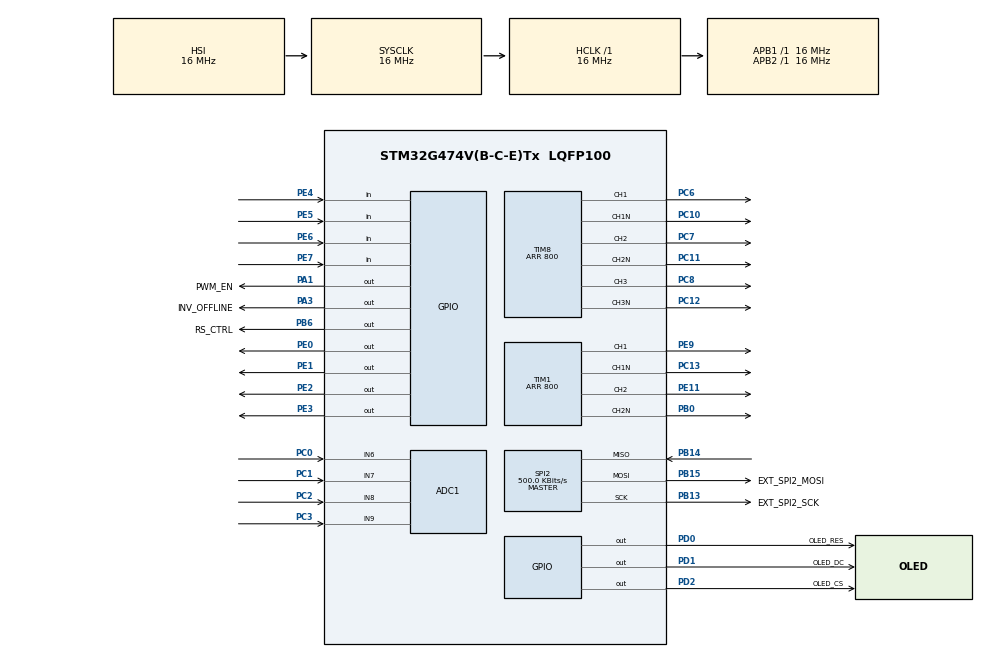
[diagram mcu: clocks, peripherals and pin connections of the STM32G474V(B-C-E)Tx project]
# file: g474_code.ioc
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ADC1.Channel-1\#ChannelRegularConversion=ADC_CHANNEL_6
ADC1.Channel-2\#ChannelRegularConversion=ADC_CHANNEL_7
ADC1.Channel-3\#ChannelRegularConversion=ADC_CHANNEL_8
ADC1.ClockPrescaler=ADC_CLOCK_SYNC_PCLK_DIV1
ADC1.ContinuousConvMode=DISABLE
ADC1.DMAContinuousRequests=ENABLE
ADC1.ExternalTrigConv=ADC_EXTERNALTRIG_T8_TRGO
ADC1.ExternalTrigConvEdge=ADC_EXTERNALTRIGCONVEDGE_RISING
ADC1.NbrOfConversion=3
ADC1.NbrOfConversionFlag=1
ADC1.OffsetNumber-1\#ChannelRegularConversion=ADC_OFFSET_NONE
ADC1.OffsetNumber-2\#ChannelRegularConversion=ADC_OFFSET_NONE
ADC1.OffsetNumber-3\#ChannelRegularConversion=ADC_OFFSET_NONE
ADC1.Rank-1\#ChannelRegularConversion=1
ADC1.Rank-2\#ChannelRegularConversion=2
ADC1.Rank-3\#ChannelRegularConversion=3
ADC1.SamplingTime-1\#ChannelRegularConversion=ADC_SAMPLETIME_47CYCLES_5
ADC1.SamplingTime-2\#ChannelRegularConversion=ADC_SAMPLETIME_47CYCLES_5
ADC1.SamplingTime-3\#ChannelRegularConversion=ADC_SAMPLETIME_47CYCLES_5
ADC1.master=1
Dma.ADC1.0.Direction=DMA_PERIPH_TO_MEMORY
Dma.ADC1.0.EventEnable=DISABLE
Dma.ADC1.0.Instance=DMA1_Channel1
Dma.ADC1.0.MemDataAlignment=DMA_MDATAALIGN_HALFWORD
Dma.ADC1.0.MemInc=DMA_MINC_ENABLE
Dma.ADC1.0.Mode=DMA_CIRCULAR
Dma.ADC1.0.PeriphDataAlignment=DMA_PDATAALIGN_HALFWORD
Dma.ADC1.0.PeriphInc=DMA_PINC_DISABLE
Dma.ADC1.0.Polarity=HAL_DMAMUX_REQ_GEN_RISING
Dma.ADC1.0.Priority=DMA_PRIORITY_LOW
Dma.ADC1.0.RequestNumber=1
Dma.ADC1.0.SignalID=NONE
Dma.ADC1.0.SyncEnable=DISABLE
Dma.ADC1.0.SyncPolarity=HAL_DMAMUX_SYNC_NO_EVENT
Dma.ADC1.0.SyncRequestNumber=1
Dma.ADC1.0.SyncSignalID=NONE
Dma.Request0=ADC1
Mcu.Family=STM32G4
Mcu.Name=STM32G474V(B-C-E)Tx
Mcu.Package=LQFP100
NVIC.ADC1_2_IRQn=true\:1\:0\:false\:false\:true\:false\:true\:true
NVIC.DMA1_Channel1_IRQn=true\:3\:0\:false\:false\:true\:false\:true\:true
NVIC.PriorityGroup=NVIC_PRIORITYGROUP_4
NVIC.TIM5_IRQn=true\:2\:0\:false\:false\:true\:false\:true\:true
PA1.GPIO_Label=PWM_EN
PA1.Signal=GPIO_Output
PA13.Mode=Serial_Wire
PA13.Signal=SYS_JTMS-SWDIO
PA14.Mode=Serial_Wire
PA14.Signal=SYS_JTCK-SWCLK
PA3.GPIO_Label=INV_OFFLINE
PA3.PinState=GPIO_PIN_SET
PA3.Signal=GPIO_Output
PB0.Mode=PWM Generation2 CH2 CH2N
PB0.Signal=TIM1_CH2N
PB13.GPIO_Label=EXT_SPI2_SCK
PB13.Mode=Full_Duplex_Master
PB13.Signal=SPI2_SCK
PB14.Mode=Full_Duplex_Master
PB14.Signal=SPI2_MISO
PB15.GPIO_Label=EXT_SPI2_MOSI
PB15.Mode=Full_Duplex_Master
PB15.Signal=SPI2_MOSI
PB6.GPIO_Label=RS_CTRL
PB6.Signal=GPIO_Output
PC0.Mode=IN6-Single-Ended
PC0.Signal=ADC1_IN6
PC1.Mode=IN7-Single-Ended
PC1.Signal=ADC1_IN7
PC10.Mode=PWM Generation1 CH1 CH1N
PC10.Signal=TIM8_CH1N
PC11.Mode=PWM Generation2 CH2 CH2N
PC11.Signal=TIM8_CH2N
PC12.Mode=PWM Generation3 CH3 CH3N
PC12.Signal=TIM8_CH3N
PC13.Mode=PWM Generation1 CH1 CH1N
PC13.Signal=TIM1_CH1N
PC14-OSC32_IN.Mode=LSE-External-Oscillator
PC14-OSC32_IN.Signal=RCC_OSC32_IN
PC15-OSC32_OUT.Mode=LSE-External-Oscillator
PC15-OSC32_OUT.Signal=RCC_OSC32_OUT
PC2.Mode=IN8-Single-Ended
PC2.Signal=ADC1_IN8
PC3.Mode=IN9-Single-Ended
PC3.Signal=ADC1_IN9
PC6.Signal=S_TIM8_CH1
PC7.Signal=S_TIM8_CH2
PC8.Signal=S_TIM8_CH3
PD0.GPIO_Label=OLED_RES
PD0.GPIO_PuPd=GPIO_PULLUP
PD0.GPIO_Speed=GPIO_SPEED_FREQ_VERY_HIGH
PD0.Signal=GPIO_Output
PD1.GPIO_Label=OLED_DC
PD1.GPIO_PuPd=GPIO_PULLUP
PD1.GPIO_Speed=GPIO_SPEED_FREQ_VERY_HIGH
PD1.Signal=GPIO_Output
PD2.GPIO_Label=OLED_CS
PD2.GPIO_PuPd=GPIO_PULLUP
PD2.GPIO_Speed=GPIO_SPEED_FREQ_VERY_HIGH
PD2.Signal=GPIO_Output
PE0.GPIO_ModeDefaultOutputPP=GPIO_MODE_OUTPUT_OD
PE0.PinState=GPIO_PIN_SET
PE0.Signal=GPIO_Output
PE1.GPIO_ModeDefaultOutputPP=GPIO_MODE_OUTPUT_OD
PE1.PinState=GPIO_PIN_SET
PE1.Signal=GPIO_Output
PE11.Signal=S_TIM1_CH2
PE2.GPIO_ModeDefaultOutputPP=GPIO_MODE_OUTPUT_OD
PE2.PinState=GPIO_PIN_SET
PE2.Signal=GPIO_Output
PE3.GPIO_ModeDefaultOutputPP=GPIO_MODE_OUTPUT_OD
PE3.PinState=GPIO_PIN_SET
PE3.Signal=GPIO_Output
PE4.GPIO_PuPd=GPIO_PULLUP
PE4.Signal=GPIO_Input
PE5.GPIO_PuPd=GPIO_PULLUP
PE5.Signal=GPIO_Input
PE6.GPIO_PuPd=GPIO_PULLUP
PE6.Signal=GPIO_Input
PE7.GPIO_PuPd=GPIO_PULLUP
PE7.Signal=GPIO_Input
PE9.Signal=S_TIM1_CH1
PF0-OSC_IN.Mode=HSE-External-Oscillator
PF0-OSC_IN.Signal=RCC_OSC_IN
PF1-OSC_OUT.Mode=HSE-External-Oscillator
PF1-OSC_OUT.Signal=RCC_OSC_OUT
ProjectManager.HeapSize=0x200
ProjectManager.StackSize=0x400
ProjectManager.TargetToolchain=MDK-ARM V5.32
RCC.ADC12Freq_Value=16000000
RCC.ADC345Freq_Value=16000000
RCC.AHBFreq_Value=16000000
RCC.APB1Freq_Value=16000000
RCC.APB1TimFreq_Value=16000000
RCC.APB2Freq_Value=16000000
RCC.APB2TimFreq_Value=16000000
RCC.CortexFreq_Value=16000000
RCC.EXTERNAL_CLOCK_VALUE=12288000
RCC.HCLKFreq_Value=16000000
RCC.HSE_VALUE=8000000
RCC.HSI48_VALUE=48000000
RCC.HSI_VALUE=16000000
RCC.PLLM=RCC_PLLM_DIV4
RCC.PLLN=85
RCC.SYSCLKFreq_VALUE=16000000
RCC.USBFreq_Value=170000000
RCC.VCOOutputFreq_Value=340000000
SH.S_TIM1_CH1.0=TIM1_CH1,PWM Generation1 CH1 CH1N
SH.S_TIM1_CH2.0=TIM1_CH2,PWM Generation2 CH2 CH2N
SH.S_TIM8_CH1.0=TIM8_CH1,PWM Generation1 CH1 CH1N
SH.S_TIM8_CH2.0=TIM8_CH2,PWM Generation2 CH2 CH2N
SH.S_TIM8_CH3.0=TIM8_CH3,PWM Generation3 CH3 CH3N
SPI2.BaudRatePrescaler=SPI_BAUDRATEPRESCALER_32
SPI2.CLKPhase=SPI_PHASE_1EDGE
SPI2.CLKPolarity=SPI_POLARITY_LOW
SPI2.CalculateBaudRate=500.0 KBits/s
SPI2.DataSize=SPI_DATASIZE_8BIT
SPI2.Direction=SPI_DIRECTION_2LINES
SPI2.Mode=SPI_MODE_MASTER
SPI2.VirtualType=VM_MASTER
TIM1.Channel-PWM\ Generation1\ CH1\ CH1N=TIM_CHANNEL_1
TIM1.Channel-PWM\ Generation2\ CH2\ CH2N=TIM_CHANNEL_2
TIM1.CounterMode=TIM_COUNTERMODE_CENTERALIGNED1
TIM1.DeadTime=5
TIM1.OffStateIDLEMode=TIM_OSSI_ENABLE
TIM1.OffStateRunMode=TIM_OSSR_ENABLE
TIM1.PeriodNoDither=800
TIM1.PulseNoDither_1=400
TIM1.PulseNoDither_2=400
TIM1.RepetitionCounter=1
TIM1.TIM_MasterOutputTrigger=TIM_TRGO_UPDATE
TIM5.AutoReloadPreload=TIM_AUTORELOAD_PRELOAD_ENABLE
TIM5.Period=888
TIM5.Prescaler=0
TIM8.AutoReloadPreload=TIM_AUTORELOAD_PRELOAD_ENABLE
TIM8.Channel-PWM\ Generation1\ CH1\ CH1N=TIM_CHANNEL_1
TIM8.Channel-PWM\ Generation2\ CH2\ CH2N=TIM_CHANNEL_2
TIM8.Channel-PWM\ Generation3\ CH3\ CH3N=TIM_CHANNEL_3
TIM8.CounterMode=TIM_COUNTERMODE_CENTERALIGNED1
TIM8.DeadTime=5
TIM8.DeadTimePreload=DISABLE
TIM8.OffStateIDLEMode=TIM_OSSI_ENABLE
TIM8.OffStateRunMode=TIM_OSSR_ENABLE
TIM8.PeriodNoDither=800
TIM8.PulseNoDither_1=400
TIM8.PulseNoDither_2=400
TIM8.PulseNoDither_3=400
TIM8.RepetitionCounter=1
TIM8.TIM_MasterOutputTrigger=TIM_TRGO_UPDATE
VP_SYS_VS_DBSignals.Mode=DisableDeadBatterySignals
VP_TIM1_VS_ClockSourceINT.Mode=Internal
VP_TIM5_VS_ClockSourceINT.Mode=Internal
VP_TIM8_VS_ClockSourceINT.Mode=Internal
board=custom

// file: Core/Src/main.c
/* USER CODE BEGIN Header */
/**
  ******************************************************************************
  * @file           : main.c
  * @brief          : Main program body
  ******************************************************************************
  * @attention
  *
  * Copyright (c) 2026 STMicroelectronics.
  * All rights reserved.
  *
  * This software is licensed under terms that can be found in the LICENSE file
  * in the root directory of this software component.
  * If no LICENSE file comes with this software, it is provided AS-IS.
  *
  ******************************************************************************
  */
/* USER CODE END Header */
#include "main.h"

/* USER CODE BEGIN Includes */
#include "oled.h"
#include "Keyboard.h"
#include "sampling.h"
#include "Control_Tools.h"
#include "arm_math.h"
#include "single_rectifier_control.h"

/* USER CODE END Includes */

/* USER CODE BEGIN PD */
#define SAMPLE_POINT 360
#define CLK_FREQ 18000.0f
#define T 1/CLK_FREQ
#define AC_Freq 50
#define SQRT_2 1.41421356237f
#define Wc (2*3.14159265359*AC_Freq)
#define WL (0.2*3.14159265359)

// PI控制器的相关参数
#define Udc_Kp 0.1f // Udc环Kp
#define Udc_Ki 0.01f // Udc环Ki
#define Id_Kp 0.1f // 直轴分量Id环Kp
#define Id_Ki 0.01f // 直轴分量Id环Ki
#define Iq_Kp 0.1f // 交轴分量Iq环Kp
#define Iq_Ki 0.01f // 交轴分量Iq环Ki
// PI控制器的限幅参数

/* USER CODE END PD */

ADC_HandleTypeDef hadc1;
DMA_HandleTypeDef hdma_adc1;

SPI_HandleTypeDef hspi2;

TIM_HandleTypeDef htim1;
TIM_HandleTypeDef htim5;
TIM_HandleTypeDef htim8;

/* USER CODE BEGIN PV */
INV_SamplingData realdata; // 采样处理后的真实数据

SingleRectifier_ControlState pll_state;// 锁相环状态结构体
// ===========================================================================
// 变量定义
static uint16_t clock_timer = 0; //控制环定时器
uint16_t circle_n = 0; //用于描述控制环在工频周期的位置
// 以下变量用于有效值平均值计算
float Uac_sum = 0.0f;
float Iac_sum = 0.0f;
float Udc_sum = 0.0f;
float Uac_square_sum = 0.0f;
float Iac_square_sum = 0.0f;
float Uac_rms = 0.0f;
float Iac_rms = 0.0f;
float Udc_mean = 0.0f;
float Uac_mean = 0.0f;
float Iac_mean = 0.0f;
// ===========================================================================
// PI控制器
PI_Controller Udc_loop; // Udc环
PI_Controller Id_loop; // 直轴分量Id环
PI_Controller Iq_loop; // 交轴分量Iq环
float Udc_ref = 32; // 直流电压输出参考值

float Id_ref = 0.0f; // 直轴分量Id参考值
float Iq_ref = 0.0f; // 交轴分量Iq参考值

float grid_ud = 0.0f; // 电网侧d轴分量
float grid_uq = 0.0f; // 电网侧q轴分量
float grid_theta = 0.0f; // 电网电压相位
// 电流内环
float Id_in; // 直轴分量Id输入值
float Iq_in; // 交轴分量Iq输入值
float UI_d;
float UI_q;
float UI_alpha;
float UI_beta;

// PWM占空比
float Duty1;
float Duty2;

// ===========================================================================
/* USER CODE END PV */

void SystemClock_Config(void);
static void MX_GPIO_Init(void);
static void MX_DMA_Init(void);
static void MX_ADC1_Init(void);
static void MX_TIM5_Init(void);
static void MX_SPI2_Init(void);
static void MX_TIM8_Init(void);
static void MX_TIM1_Init(void);

/* USER CODE BEGIN 0 */
void Control_Init(void)
{
  //初始化PI控制器，主要完成三个控制环的初始化，分别为直流电压外环PI控制器，直轴分量Id环PI控制器，交轴分量Iq环PI控制器
  PI_Pos_Init(&Udc_loop, Udc_Kp, Udc_Ki, -1.0f, 1.0f);
  PI_Pos_Init(&Id_loop, Id_Kp, Id_Ki, -1.0f, 1.0f);
  PI_Pos_Init(&Iq_loop, Iq_Kp, Iq_Ki, -1.0f, 1.0f);
  // 注意PI控制器的 PI_Pos_Init 函数中，最后两个参数是积分器加和值的最小值和最大值，不是PI控制器输出的最小值与最大值
}
/* USER CODE END 0 */

int main(void)
{

  /* MCU Configuration--------------------------------------------------------*/

  /* Reset of all peripherals, Initializes the Flash interface and the Systick. */
  HAL_Init();

  /* Configure the system clock */
  SystemClock_Config();

  /* Initialize all configured peripherals */
  MX_GPIO_Init();
  MX_DMA_Init();
  MX_ADC1_Init();
  MX_TIM5_Init();
  MX_SPI2_Init();
  MX_TIM8_Init();
  MX_TIM1_Init();
  /* USER CODE BEGIN 2 */

  OLED_Init();
  Keyboard_Init();
  Control_Init();

  /* 先校准并就绪 ADC DMA，再启动 TIM8 触发；输出保持关闭。 */
  if (INV_SamplingStart() != HAL_OK) Error_Handler();
  if (HAL_TIM_Base_Start(&htim8) != HAL_OK) Error_Handler();

  /* 欢迎界面（替代原工程 gImage_welcome 开机图） */
  OLED_Clear();
  OLED_ShowString(16, 8,  "INVERTER", 16);
  OLED_ShowString(16, 32, "G474 PORT", 16);
  OLED_Refresh();
  HAL_Delay(2000);

  // TIM5 启动
  HAL_TIM_Base_Start_IT(&htim5);
  // 单相PWM整流使用TIM1的PWM输出,分别打开TIM1的两个通道及其互补输出
  // TIM1 CH1 CH1N分别对应PE9 PC13
  // TIM1 CH2 CH2N分别对应PE11 PB0
  HAL_TIM_PWM_Start(&htim1, TIM_CHANNEL_1);
  HAL_TIMEx_PWMN_Start(&htim1, TIM_CHANNEL_1);
  HAL_TIM_PWM_Start(&htim1, TIM_CHANNEL_2);
  HAL_TIMEx_PWMN_Start(&htim1, TIM_CHANNEL_2);

  //

  /* USER CODE END 2 */

  /* Infinite loop */
  while (1)
  {

  }
}

void SystemClock_Config(void)
{
  RCC_OscInitTypeDef RCC_OscInitStruct = {0};
  RCC_ClkInitTypeDef RCC_ClkInitStruct = {0};

  /** Configure the main internal regulator output voltage
  */
  HAL_PWREx_ControlVoltageScaling(PWR_REGULATOR_VOLTAGE_SCALE1);

  /** Initializes the RCC Oscillators according to the specified parameters
  * in the RCC_OscInitTypeDef structure.
  */
  RCC_OscInitStruct.OscillatorType = RCC_OSCILLATORTYPE_HSI;
  RCC_OscInitStruct.HSIState = RCC_HSI_ON;
  RCC_OscInitStruct.HSICalibrationValue = RCC_HSICALIBRATION_DEFAULT;
  RCC_OscInitStruct.PLL.PLLState = RCC_PLL_NONE;
  if (HAL_RCC_OscConfig(&RCC_OscInitStruct) != HAL_OK)
  {
    Error_Handler();
  }

  /** Initializes the CPU, AHB and APB buses clocks
  */
  RCC_ClkInitStruct.ClockType = RCC_CLOCKTYPE_HCLK|RCC_CLOCKTYPE_SYSCLK
                              |RCC_CLOCKTYPE_PCLK1|RCC_CLOCKTYPE_PCLK2;
  RCC_ClkInitStruct.SYSCLKSource = RCC_SYSCLKSOURCE_HSI;
  RCC_ClkInitStruct.AHBCLKDivider = RCC_SYSCLK_DIV1;
  RCC_ClkInitStruct.APB1CLKDivider = RCC_HCLK_DIV1;
  RCC_ClkInitStruct.APB2CLKDivider = RCC_HCLK_DIV1;

  if (HAL_RCC_ClockConfig(&RCC_ClkInitStruct, FLASH_LATENCY_0) != HAL_OK)
  {
    Error_Handler();
  }
}

static void MX_ADC1_Init(void)
{

  ADC_MultiModeTypeDef multimode = {0};
  ADC_ChannelConfTypeDef sConfig = {0};

  /** Common config
  */
  hadc1.Instance = ADC1;
  hadc1.Init.ClockPrescaler = ADC_CLOCK_SYNC_PCLK_DIV1;
  hadc1.Init.Resolution = ADC_RESOLUTION_12B;
  hadc1.Init.DataAlign = ADC_DATAALIGN_RIGHT;
  hadc1.Init.GainCompensation = 0;
  hadc1.Init.ScanConvMode = ADC_SCAN_ENABLE;
  hadc1.Init.EOCSelection = ADC_EOC_SINGLE_CONV;
  hadc1.Init.LowPowerAutoWait = DISABLE;
  hadc1.Init.ContinuousConvMode = DISABLE;
  hadc1.Init.NbrOfConversion = 3;
  hadc1.Init.DiscontinuousConvMode = DISABLE;
  hadc1.Init.ExternalTrigConv = ADC_EXTERNALTRIG_T8_TRGO;
  hadc1.Init.ExternalTrigConvEdge = ADC_EXTERNALTRIGCONVEDGE_RISING;
  hadc1.Init.DMAContinuousRequests = ENABLE;
  hadc1.Init.Overrun = ADC_OVR_DATA_PRESERVED;
  hadc1.Init.OversamplingMode = DISABLE;
  if (HAL_ADC_Init(&hadc1) != HAL_OK)
  {
    Error_Handler();
  }

  /** Configure the ADC multi-mode
  */
  multimode.Mode = ADC_MODE_INDEPENDENT;
  if (HAL_ADCEx_MultiModeConfigChannel(&hadc1, &multimode) != HAL_OK)
  {
    Error_Handler();
  }

  /** Configure Regular Channel
  */
  sConfig.Channel = ADC_CHANNEL_6;
  sConfig.Rank = ADC_REGULAR_RANK_1;
  sConfig.SamplingTime = ADC_SAMPLETIME_47CYCLES_5;
  sConfig.SingleDiff = ADC_SINGLE_ENDED;
  sConfig.OffsetNumber = ADC_OFFSET_NONE;
  sConfig.Offset = 0;
  if (HAL_ADC_ConfigChannel(&hadc1, &sConfig) != HAL_OK)
  {
    Error_Handler();
  }

  /** Configure Regular Channel
  */
  sConfig.Channel = ADC_CHANNEL_7;
  sConfig.Rank = ADC_REGULAR_RANK_2;
  if (HAL_ADC_ConfigChannel(&hadc1, &sConfig) != HAL_OK)
  {
    Error_Handler();
  }

  /** Configure Regular Channel
  */
  sConfig.Channel = ADC_CHANNEL_8;
  sConfig.Rank = ADC_REGULAR_RANK_3;
  if (HAL_ADC_ConfigChannel(&hadc1, &sConfig) != HAL_OK)
  {
    Error_Handler();
  }
  /* USER CODE BEGIN ADC1_Init 2 */

  HAL_NVIC_SetPriority(ADC1_2_IRQn, 1, 0);
  HAL_NVIC_EnableIRQ(ADC1_2_IRQn);

  /* USER CODE END ADC1_Init 2 */

}

static void MX_SPI2_Init(void)
{

  /* SPI2 parameter configuration*/
  hspi2.Instance = SPI2;
  hspi2.Init.Mode = SPI_MODE_MASTER;
  hspi2.Init.Direction = SPI_DIRECTION_2LINES;
  hspi2.Init.DataSize = SPI_DATASIZE_8BIT;
  hspi2.Init.CLKPolarity = SPI_POLARITY_LOW;
  hspi2.Init.CLKPhase = SPI_PHASE_1EDGE;
  hspi2.Init.NSS = SPI_NSS_SOFT;
  hspi2.Init.BaudRatePrescaler = SPI_BAUDRATEPRESCALER_32;
  hspi2.Init.FirstBit = SPI_FIRSTBIT_MSB;
  hspi2.Init.TIMode = SPI_TIMODE_DISABLE;
  hspi2.Init.CRCCalculation = SPI_CRCCALCULATION_DISABLE;
  hspi2.Init.CRCPolynomial = 7;
  hspi2.Init.CRCLength = SPI_CRC_LENGTH_DATASIZE;
  hspi2.Init.NSSPMode = SPI_NSS_PULSE_ENABLE;
  if (HAL_SPI_Init(&hspi2) != HAL_OK)
  {
    Error_Handler();
  }

}

static void MX_TIM1_Init(void)
{

  TIM_ClockConfigTypeDef sClockSourceConfig = {0};
  TIM_MasterConfigTypeDef sMasterConfig = {0};
  TIM_OC_InitTypeDef sConfigOC = {0};
  TIM_BreakDeadTimeConfigTypeDef sBreakDeadTimeConfig = {0};

  htim1.Instance = TIM1;
  htim1.Init.Prescaler = 0;
  htim1.Init.CounterMode = TIM_COUNTERMODE_CENTERALIGNED1;
  htim1.Init.Period = 800;
  htim1.Init.ClockDivision = TIM_CLOCKDIVISION_DIV1;
  htim1.Init.RepetitionCounter = 1;
  htim1.Init.AutoReloadPreload = TIM_AUTORELOAD_PRELOAD_DISABLE;
  if (HAL_TIM_Base_Init(&htim1) != HAL_OK)
  {
    Error_Handler();
  }
  sClockSourceConfig.ClockSource = TIM_CLOCKSOURCE_INTERNAL;
  if (HAL_TIM_ConfigClockSource(&htim1, &sClockSourceConfig) != HAL_OK)
  {
    Error_Handler();
  }
  if (HAL_TIM_PWM_Init(&htim1) != HAL_OK)
  {
    Error_Handler();
  }
  sMasterConfig.MasterOutputTrigger = TIM_TRGO_UPDATE;
  sMasterConfig.MasterOutputTrigger2 = TIM_TRGO2_RESET;
  sMasterConfig.MasterSlaveMode = TIM_MASTERSLAVEMODE_DISABLE;
  if (HAL_TIMEx_MasterConfigSynchronization(&htim1, &sMasterConfig) != HAL_OK)
  {
    Error_Handler();
  }
  sConfigOC.OCMode = TIM_OCMODE_PWM1;
  sConfigOC.Pulse = 400;
  sConfigOC.OCPolarity = TIM_OCPOLARITY_HIGH;
  sConfigOC.OCNPolarity = TIM_OCNPOLARITY_HIGH;
  sConfigOC.OCFastMode = TIM_OCFAST_DISABLE;
  sConfigOC.OCIdleState = TIM_OCIDLESTATE_RESET;
  sConfigOC.OCNIdleState = TIM_OCNIDLESTATE_RESET;
  if (HAL_TIM_PWM_ConfigChannel(&htim1, &sConfigOC, TIM_CHANNEL_1) != HAL_OK)
  {
    Error_Handler();
  }
  if (HAL_TIM_PWM_ConfigChannel(&htim1, &sConfigOC, TIM_CHANNEL_2) != HAL_OK)
  {
    Error_Handler();
  }
  sBreakDeadTimeConfig.OffStateRunMode = TIM_OSSR_ENABLE;
  sBreakDeadTimeConfig.OffStateIDLEMode = TIM_OSSI_ENABLE;
  sBreakDeadTimeConfig.LockLevel = TIM_LOCKLEVEL_OFF;
  sBreakDeadTimeConfig.DeadTime = 5;
  sBreakDeadTimeConfig.BreakState = TIM_BREAK_DISABLE;
  sBreakDeadTimeConfig.BreakPolarity = TIM_BREAKPOLARITY_HIGH;
  sBreakDeadTimeConfig.BreakFilter = 0;
  sBreakDeadTimeConfig.BreakAFMode = TIM_BREAK_AFMODE_INPUT;
  sBreakDeadTimeConfig.Break2State = TIM_BREAK2_DISABLE;
  sBreakDeadTimeConfig.Break2Polarity = TIM_BREAK2POLARITY_HIGH;
  sBreakDeadTimeConfig.Break2Filter = 0;
  sBreakDeadTimeConfig.Break2AFMode = TIM_BREAK_AFMODE_INPUT;
  sBreakDeadTimeConfig.AutomaticOutput = TIM_AUTOMATICOUTPUT_DISABLE;
  if (HAL_TIMEx_ConfigBreakDeadTime(&htim1, &sBreakDeadTimeConfig) != HAL_OK)
  {
    Error_Handler();
  }
  HAL_TIM_MspPostInit(&htim1);

}

static void MX_TIM5_Init(void)
{

  TIM_ClockConfigTypeDef sClockSourceConfig = {0};
  TIM_MasterConfigTypeDef sMasterConfig = {0};

  htim5.Instance = TIM5;
  htim5.Init.Prescaler = 0;
  htim5.Init.CounterMode = TIM_COUNTERMODE_UP;
  htim5.Init.Period = 888;
  htim5.Init.ClockDivision = TIM_CLOCKDIVISION_DIV1;
  htim5.Init.AutoReloadPreload = TIM_AUTORELOAD_PRELOAD_ENABLE;
  if (HAL_TIM_Base_Init(&htim5) != HAL_OK)
  {
    Error_Handler();
  }
  sClockSourceConfig.ClockSource = TIM_CLOCKSOURCE_INTERNAL;
  if (HAL_TIM_ConfigClockSource(&htim5, &sClockSourceConfig) != HAL_OK)
  {
    Error_Handler();
  }
  sMasterConfig.MasterOutputTrigger = TIM_TRGO_RESET;
  sMasterConfig.MasterSlaveMode = TIM_MASTERSLAVEMODE_DISABLE;
  if (HAL_TIMEx_MasterConfigSynchronization(&htim5, &sMasterConfig) != HAL_OK)
  {
    Error_Handler();
  }

}

static void MX_TIM8_Init(void)
{

  TIM_ClockConfigTypeDef sClockSourceConfig = {0};
  TIM_MasterConfigTypeDef sMasterConfig = {0};
  TIM_OC_InitTypeDef sConfigOC = {0};
  TIM_BreakDeadTimeConfigTypeDef sBreakDeadTimeConfig = {0};

  htim8.Instance = TIM8;
  htim8.Init.Prescaler = 0;
  htim8.Init.CounterMode = TIM_COUNTERMODE_CENTERALIGNED1;
  htim8.Init.Period = 800;
  htim8.Init.ClockDivision = TIM_CLOCKDIVISION_DIV1;
  htim8.Init.RepetitionCounter = 1;
  htim8.Init.AutoReloadPreload = TIM_AUTORELOAD_PRELOAD_ENABLE;
  if (HAL_TIM_Base_Init(&htim8) != HAL_OK)
  {
    Error_Handler();
  }
  sClockSourceConfig.ClockSource = TIM_CLOCKSOURCE_INTERNAL;
  if (HAL_TIM_ConfigClockSource(&htim8, &sClockSourceConfig) != HAL_OK)
  {
    Error_Handler();
  }
  if (HAL_TIM_PWM_Init(&htim8) != HAL_OK)
  {
    Error_Handler();
  }
  sMasterConfig.MasterOutputTrigger = TIM_TRGO_UPDATE;
  sMasterConfig.MasterOutputTrigger2 = TIM_TRGO2_RESET;
  sMasterConfig.MasterSlaveMode = TIM_MASTERSLAVEMODE_DISABLE;
  if (HAL_TIMEx_MasterConfigSynchronization(&htim8, &sMasterConfig) != HAL_OK)
  {
    Error_Handler();
  }
  sConfigOC.OCMode = TIM_OCMODE_PWM1;
  sConfigOC.Pulse = 400;
  sConfigOC.OCPolarity = TIM_OCPOLARITY_HIGH;
  sConfigOC.OCNPolarity = TIM_OCNPOLARITY_HIGH;
  sConfigOC.OCFastMode = TIM_OCFAST_DISABLE;
  sConfigOC.OCIdleState = TIM_OCIDLESTATE_RESET;
  sConfigOC.OCNIdleState = TIM_OCNIDLESTATE_RESET;
  if (HAL_TIM_PWM_ConfigChannel(&htim8, &sConfigOC, TIM_CHANNEL_1) != HAL_OK)
  {
    Error_Handler();
  }
  if (HAL_TIM_PWM_ConfigChannel(&htim8, &sConfigOC, TIM_CHANNEL_2) != HAL_OK)
  {
    Error_Handler();
  }
  if (HAL_TIM_PWM_ConfigChannel(&htim8, &sConfigOC, TIM_CHANNEL_3) != HAL_OK)
  {
    Error_Handler();
  }
  sBreakDeadTimeConfig.OffStateRunMode = TIM_OSSR_ENABLE;
  sBreakDeadTimeConfig.OffStateIDLEMode = TIM_OSSI_ENABLE;
  sBreakDeadTimeConfig.LockLevel = TIM_LOCKLEVEL_OFF;
  sBreakDeadTimeConfig.DeadTime = 5;
  sBreakDeadTimeConfig.BreakState = TIM_BREAK_DISABLE;
  sBreakDeadTimeConfig.BreakPolarity = TIM_BREAKPOLARITY_HIGH;
  sBreakDeadTimeConfig.BreakFilter = 0;
  sBreakDeadTimeConfig.BreakAFMode = TIM_BREAK_AFMODE_INPUT;
  sBreakDeadTimeConfig.Break2State = TIM_BREAK2_DISABLE;
  sBreakDeadTimeConfig.Break2Polarity = TIM_BREAK2POLARITY_HIGH;
  sBreakDeadTimeConfig.Break2Filter = 0;
  sBreakDeadTimeConfig.Break2AFMode = TIM_BREAK_AFMODE_INPUT;
  sBreakDeadTimeConfig.AutomaticOutput = TIM_AUTOMATICOUTPUT_DISABLE;
  if (HAL_TIMEx_ConfigBreakDeadTime(&htim8, &sBreakDeadTimeConfig) != HAL_OK)
  {
    Error_Handler();
  }
  HAL_TIM_MspPostInit(&htim8);

}

static void MX_DMA_Init(void)
{

  /* DMA controller clock enable */
  __HAL_RCC_DMAMUX1_CLK_ENABLE();
  __HAL_RCC_DMA1_CLK_ENABLE();

  /* DMA interrupt init */
  /* DMA1_Channel1_IRQn interrupt configuration */
  HAL_NVIC_SetPriority(DMA1_Channel1_IRQn, 3, 0);
  HAL_NVIC_EnableIRQ(DMA1_Channel1_IRQn);

}

static void MX_GPIO_Init(void)
{
  GPIO_InitTypeDef GPIO_InitStruct = {0};

  /* GPIO Ports Clock Enable */
  __HAL_RCC_GPIOE_CLK_ENABLE();
  __HAL_RCC_GPIOC_CLK_ENABLE();
  __HAL_RCC_GPIOF_CLK_ENABLE();
  __HAL_RCC_GPIOA_CLK_ENABLE();
  __HAL_RCC_GPIOB_CLK_ENABLE();
  __HAL_RCC_GPIOD_CLK_ENABLE();

  /*Configure GPIO pin Output Level */
  HAL_GPIO_WritePin(GPIOE, GPIO_PIN_2|GPIO_PIN_3|GPIO_PIN_0|GPIO_PIN_1, GPIO_PIN_SET);

  /*Configure GPIO pin Output Level */
  HAL_GPIO_WritePin(PWM_EN_GPIO_Port, PWM_EN_Pin, GPIO_PIN_RESET);

  /*Configure GPIO pin Output Level */
  HAL_GPIO_WritePin(INV_OFFLINE_GPIO_Port, INV_OFFLINE_Pin, GPIO_PIN_SET);

  /*Configure GPIO pin Output Level */
  HAL_GPIO_WritePin(GPIOD, OLED_RES_Pin|OLED_DC_Pin|OLED_CS_Pin, GPIO_PIN_RESET);

  /*Configure GPIO pin Output Level */
  HAL_GPIO_WritePin(RS_CTRL_GPIO_Port, RS_CTRL_Pin, GPIO_PIN_RESET);

  /*Configure GPIO pins : PE2 PE3 PE0 PE1 */
  GPIO_InitStruct.Pin = GPIO_PIN_2|GPIO_PIN_3|GPIO_PIN_0|GPIO_PIN_1;
  GPIO_InitStruct.Mode = GPIO_MODE_OUTPUT_OD;
  GPIO_InitStruct.Pull = GPIO_NOPULL;
  GPIO_InitStruct.Speed = GPIO_SPEED_FREQ_LOW;
  HAL_GPIO_Init(GPIOE, &GPIO_InitStruct);

  /*Configure GPIO pins : PE4 PE5 PE6 PE7 */
  GPIO_InitStruct.Pin = GPIO_PIN_4|GPIO_PIN_5|GPIO_PIN_6|GPIO_PIN_7;
  GPIO_InitStruct.Mode = GPIO_MODE_INPUT;
  GPIO_InitStruct.Pull = GPIO_PULLUP;
  HAL_GPIO_Init(GPIOE, &GPIO_InitStruct);

  /*Configure GPIO pins : PWM_EN_Pin INV_OFFLINE_Pin */
  GPIO_InitStruct.Pin = PWM_EN_Pin|INV_OFFLINE_Pin;
  GPIO_InitStruct.Mode = GPIO_MODE_OUTPUT_PP;
  GPIO_InitStruct.Pull = GPIO_NOPULL;
  GPIO_InitStruct.Speed = GPIO_SPEED_FREQ_LOW;
  HAL_GPIO_Init(GPIOA, &GPIO_InitStruct);

  /*Configure GPIO pins : OLED_RES_Pin OLED_DC_Pin OLED_CS_Pin */
  GPIO_InitStruct.Pin = OLED_RES_Pin|OLED_DC_Pin|OLED_CS_Pin;
  GPIO_InitStruct.Mode = GPIO_MODE_OUTPUT_PP;
  GPIO_InitStruct.Pull = GPIO_PULLUP;
  GPIO_InitStruct.Speed = GPIO_SPEED_FREQ_VERY_HIGH;
  HAL_GPIO_Init(GPIOD, &GPIO_InitStruct);

  /*Configure GPIO pin : RS_CTRL_Pin */
  GPIO_InitStruct.Pin = RS_CTRL_Pin;
  GPIO_InitStruct.Mode = GPIO_MODE_OUTPUT_PP;
  GPIO_InitStruct.Pull = GPIO_NOPULL;
  GPIO_InitStruct.Speed = GPIO_SPEED_FREQ_LOW;
  HAL_GPIO_Init(RS_CTRL_GPIO_Port, &GPIO_InitStruct);

}

/* USER CODE BEGIN 4 */
/* Called from SysTick_Handler every 1 ms; keep SPI/display work in main. */
void Keyboard_TickISR(void)
{
  Keyboard_ScanISR();
}
/*
以下为由TIM5控制的电压环、电流环及PWM指令计算的主控制环。
目前已经实现
1. 平均值有效值计算
2. 电压外环
3. 电流内环
*/
void HAL_TIM_PeriodElapsedCallback(TIM_HandleTypeDef *htim)
{
    if (htim->Instance == TIM5)
    {
      clock_timer = (clock_timer + 1) % (uint16_t)(CLK_FREQ);
      circle_n = clock_timer%SAMPLE_POINT;
      INV_SamplingGetData(&realdata);
      SingleRectifier_GetState(&pll_state);

      grid_ud = pll_state.U_source_d;
      grid_uq = pll_state.U_source_q;
      grid_theta   = pll_state.theta;
      grid_theta_sin = arm_sin_f32(grid_theta);
      grid_theta_cos = arm_cos_f32(grid_theta);
      Id_in = pll_state.Id;
      Iq_in = pll_state.Iq;
      //============================================================
      // 1. 有效值平均值处理
      Uac_sum += realdata.ac[INV_SAMPLE_VOLTAGE1];
      Iac_sum += realdata.ac[INV_SAMPLE_CURRENT];
      Udc_sum += realdata.value[INV_SAMPLE_VOLTAGE2];
      Uac_square_sum += realdata.ac[INV_SAMPLE_VOLTAGE1] * realdata.ac[INV_SAMPLE_VOLTAGE1];
      Iac_square_sum += realdata.ac[INV_SAMPLE_CURRENT] * realdata.ac[INV_SAMPLE_CURRENT];

      if (circle_n == 0)
      {
        Uac_mean = Uac_sum / SAMPLE_POINT;
        Iac_mean = Iac_sum / SAMPLE_POINT;
        Udc_mean = Udc_sum / SAMPLE_POINT;
        arm_sqrt_f32(Uac_square_sum / SAMPLE_POINT, &Uac_rms);
        arm_sqrt_f32(Iac_square_sum / SAMPLE_POINT, &Iac_rms);
        Uac_sum = 0.0f;
        Iac_sum = 0.0f;
        Udc_sum = 0.0f;
        Uac_square_sum = 0.0f;
        Iac_square_sum = 0.0f;
      }
      //============================================================
      // 2. 电压外环
      float Udc_error = Udc_ref - Udc_mean;
      PI_Pos_Cal(&Udc_loop, Udc_error);
      saturation(&Udc_loop, -1.0f, 1.0f);// 直流电压环输出限幅
      Id_ref = Udc_loop.Pos; // 直流电压环输出作为Id参考值
      Iq_ref = 0.0f; // 控制交轴分量Iq为0，实现功率因数为1的控制
      //============================================================
      // 3. 电流内环
      float Id_error = Id_ref - Id_in;
      float Iq_error = Iq_ref - Iq_in;
      PI_Pos_Cal(&Id_loop, Id_error);
      PI_Pos_Cal(&Iq_loop, Iq_error);
      UI_d = (-Id_loop.Pos+grid_ud-Iq_in*WL)/50.0f;
      UI_q = (-Iq_loop.Pos+grid_uq+Id_in*WL)/50.0f;
      arm_inv_park_f32(UI_d, UI_q, &UI_alpha, &UI_beta, grid_theta_sin, grid_theta_cos);
      saturation(&UI_alpha, -0.95f, 0.95f);//这个是一个控制大小的函数，控制最小值和最大值在-0.95和+0.95之间

	        // 单极性倍频调制
	    Duty1 = (1 + UI_alpha) * 0.5f;//Duty1对应正极半桥桥臂（DQ解耦）
	    Duty2 = (1 - UI_alpha) * 0.5f;//Duty2对应负极半桥桥臂（DQ解耦）
	    TIM1->CCR1 = (int)(TIM1->ARR+1) * Duty2;
	    TIM1->CCR2 = (int)(TIM1->ARR+1) * Duty1;

    }
}
/* USER CODE END 4 */

void Error_Handler(void)
{
  /* USER CODE BEGIN Error_Handler_Debug */
  __HAL_TIM_MOE_DISABLE(&htim8);
  HAL_GPIO_WritePin(PWM_EN_GPIO_Port, PWM_EN_Pin, GPIO_PIN_RESET);
  /* User can add his own implementation to report the HAL error return state */
  __disable_irq();
  while (1)
  {
  }
  /* USER CODE END Error_Handler_Debug */
}
